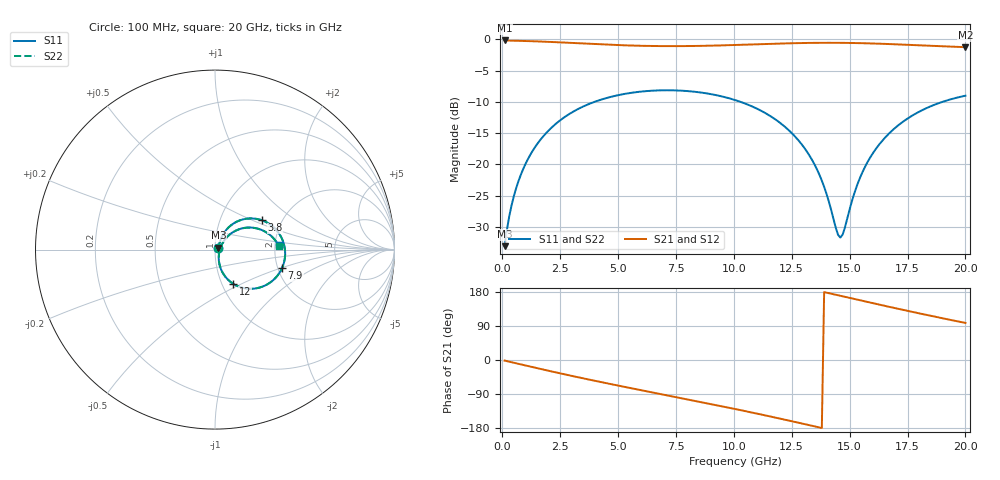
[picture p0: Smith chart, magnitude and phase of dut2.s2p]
! Touchstone file exported from HFSS 2026.1.0
!  File:  C:/ffzhzh/LocalFiles/Ansys_Project_Files/temp_val_TSV_RDL_2_1782975136_6388.aedt
!  Generated:  03:01:54 PM Jul  2, 2026
!  Design:  TSV_RDL
!  Project:  temp_val_TSV_RDL_2_1782975136_6388
! Variables:
!  h_bsmrdl = 4.65um
!  h_ox = 20um
!  h_rdl = 5um
!  h_sub = 81.4um
!  h_tmrdl = 4.34um
!  h_tsv = 81.4um
!  h_via = 3um
!  l_bsmrdl = 363.74um
!  l_sub = 4348.42um
!  l_tmrdl = 683.85um
!  m_sub = 200um
!  pitch = 38.1um
!  r_tsv = 4.26um
!  s_tmrdl = 10um
!  w_bsmrdl = 12.94um
!  w_sub = 500um
!  w_tmrdl = 27.66um
!  x_tsv_center1 = 697.68um
!  x_tsv_center2 = 1074.36um
!  x_tsv_center3 = 1785.87um
!  x_tsv_center4 = 2162.55um
!  x_tsv_center5 = 2874.06um
!  x_tsv_center6 = 3250.74um
# GHz S MA R 50.000000
! Terminal data exported
! Port[1] = TM_RDL1_1_T1
! Port[2] = TM_RDL5_1_T1
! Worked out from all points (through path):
!   200 points, 100 MHz to 20 GHz, reference 50 ohm
!   highest |S21| = -0.17 dB at 100 MHz (marker M1); lowest = -1.2 dB at 20 GHz (marker M2)
!   group delay of S21, straight-line fit = 36.1 ps
!   lowest |S11| = -33.1 dB at 100 MHz (marker M3), VSWR 1.05, Z = 52 + j1.15 ohm
!   |S11| at or under -10 dB: start of sweep to 3.973 GHz; 10.3 GHz to 19 GHz (8.698 GHz wide, 59.4 % of centre)
!   |S22| runs from -33.1 to -8.1 dB; largest |S21 - S12| = 1.7e-14
!   S11 on the Smith chart (normalised r, x): 100 MHz: 1.04, +0.02; 3.8 GHz: 1.58, +0.57; 7.9 GHz: 2.11, -0.51; 12 GHz: 1.13, -0.45; 20 GHz: 2.09, +0.11
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0.1  0.02222 29.8  0.981 -1.5  0.981 -1.5  0.02222 29.8
! Gamma 0 0 0 0
! Port Impedance 50 0 50 0
0.3  0.0385 52.0  0.9782 -4.5  0.9782 -4.5  0.0385 52.0
0.5  0.05587 58.8  0.9761 -7.3  0.9761 -7.3  0.05587 58.8
0.8  0.0827 61.9  0.9733 -11.6  0.9733 -11.6  0.0827 61.9
1.2  0.1187 60.9  0.9687 -17.3  0.9687 -17.3  0.1187 60.9
2.2  0.2029 51.3  0.9524 -31.2  0.9524 -31.2  0.2029 51.3
3.5  0.2911 35.8  0.9265 -48.5  0.9265 -48.5  0.2911 35.8
3.8  0.3075 32.2  0.9206 -52.4  0.9206 -52.4  0.3075 32.2
5.3  0.3672 14.4  0.8964 -71.2  0.8964 -71.2  0.3672 14.4
6.8  0.3914 -2.8  0.8845 -89.4  0.8845 -89.4  0.3914 -2.8
7.9  0.3875 -15.4  0.8844 -102.6  0.8844 -102.6  0.3875 -15.4
10.1  0.3254 -40.6  0.9028 -129.9  0.9028 -129.9  0.3255 -40.6
12  0.2149 -62.1  0.9267 -154.7  0.9267 -154.7  0.215 -62.1
12.8  0.1551 -69.9  0.9346 -165.6  0.9346 -165.6  0.1551 -69.8
13.4  0.1069 -73.4  0.9384 -173.9  0.9384 -173.9  0.107 -73.2
13.9  0.06626 -71.1  0.9399 179.1  0.9399 179.1  0.06643 -70.8
14.4  0.03127 -44.6  0.9397 172.2  0.9397 172.2  0.03164 -44.1
14.6  0.02603 -13.2  0.9391 169.4  0.9391 169.4  0.02649 -13.2
15.6  0.09044 46.3  0.9323 155.5  0.9323 155.5  0.0906 46.0
16.7  0.1767 40.1  0.9183 140.4  0.9183 140.4  0.1768 39.9
18.3  0.2811 23.1  0.8922 119.3  0.8922 119.3  0.2812 22.9
20  0.3547 3.8  0.8672 97.8  0.8672 97.8  0.3548 3.7
